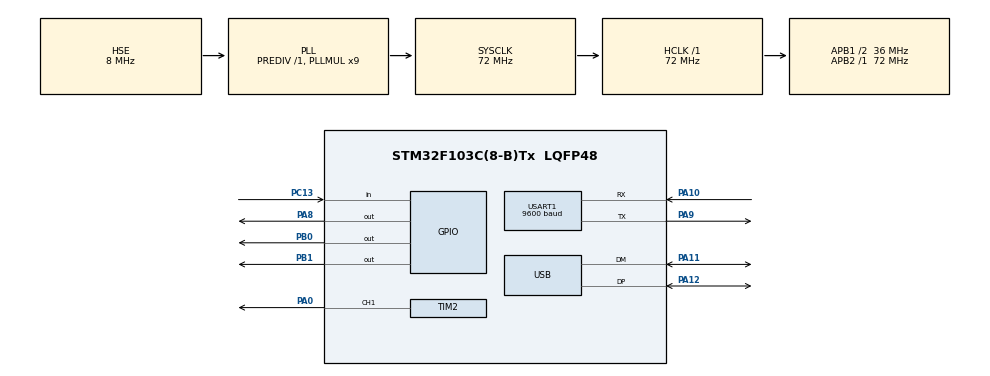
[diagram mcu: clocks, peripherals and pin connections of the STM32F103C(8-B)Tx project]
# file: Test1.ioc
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Mcu.Family=STM32F1
Mcu.Name=STM32F103C(8-B)Tx
Mcu.Package=LQFP48
NVIC.PriorityGroup=NVIC_PRIORITYGROUP_4
NVIC.TIM2_IRQn=true\:0\:0\:false\:false\:true\:true\:true\:true
NVIC.USART1_IRQn=true\:0\:0\:false\:false\:true\:true\:true\:true
NVIC.USB_LP_CAN1_RX0_IRQn=true\:0\:0\:false\:false\:true\:false\:true\:true
PA0-WKUP.Signal=S_TIM2_CH1_ETR
PA10.Mode=Asynchronous
PA10.Signal=USART1_RX
PA11.Mode=Device
PA11.Signal=USB_DM
PA12.Mode=Device
PA12.Signal=USB_DP
PA8.Signal=GPIO_Output
PA9.Mode=Asynchronous
PA9.Signal=USART1_TX
PB0.Signal=GPIO_Output
PB1.Signal=GPIO_Output
PC13-TAMPER-RTC.GPIO_PuPd=GPIO_PULLUP
PC13-TAMPER-RTC.Signal=GPIO_Input
PD0-OSC_IN.Mode=HSE-External-Oscillator
PD0-OSC_IN.Signal=RCC_OSC_IN
PD1-OSC_OUT.Mode=HSE-External-Oscillator
PD1-OSC_OUT.Signal=RCC_OSC_OUT
ProjectManager.HeapSize=0x200
ProjectManager.StackSize=0x400
ProjectManager.TargetToolchain=Makefile
RCC.AHBFreq_Value=72000000
RCC.APB1CLKDivider=RCC_HCLK_DIV2
RCC.APB1Freq_Value=36000000
RCC.APB1TimFreq_Value=72000000
RCC.APB2Freq_Value=72000000
RCC.APB2TimFreq_Value=72000000
RCC.HCLKFreq_Value=72000000
RCC.PLLMUL=RCC_PLL_MUL9
RCC.PLLSourceVirtual=RCC_PLLSOURCE_HSE
RCC.SYSCLKFreq_VALUE=72000000
RCC.SYSCLKSource=RCC_SYSCLKSOURCE_PLLCLK
RCC.USBFreq_Value=48000000
RCC.USBPrescaler=RCC_USBCLKSOURCE_PLL_DIV1_5
SH.S_TIM2_CH1_ETR.0=TIM2_CH1,Output Compare1 CH1
TIM2.Channel-Output\ Compare1\ CH1=TIM_CHANNEL_1
TIM2.Period=100
TIM2.Prescaler=7199
USART1.BaudRate=9600
USART1.VirtualMode=VM_ASYNC
USB_DEVICE.CLASS_NAME_FS=CDC
USB_DEVICE.VirtualMode=Cdc
USB_DEVICE.VirtualModeFS=Cdc_FS
VP_SYS_VS_ND.Mode=No_Debug
VP_TIM2_VS_ClockSourceINT.Mode=Internal
VP_USB_DEVICE_VS_USB_DEVICE_CDC_FS.Mode=CDC_FS
board=custom

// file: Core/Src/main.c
/* USER CODE BEGIN Header */
/**
  ******************************************************************************
  * @file           : main.c
  * @brief          : Main program body
  ******************************************************************************
  * @attention
  *
  * Copyright (c) 2024 STMicroelectronics.
  * All rights reserved.
  *
  * This software is licensed under terms that can be found in the LICENSE file
  * in the root directory of this software component.
  * If no LICENSE file comes with this software, it is provided AS-IS.
  *
  ******************************************************************************
  */
/* USER CODE END Header */
#include "main.h"
#include "usb_device.h"

/* USER CODE BEGIN Includes */
#include <stdio.h>      // add for printf
#include <string.h>
/* USER CODE END Includes */

TIM_HandleTypeDef htim2;

UART_HandleTypeDef huart1;

/* USER CODE BEGIN PV */
uint8_t uart_buf[1];
uint8_t ticks;  // timer2 ticks
uint8_t SM_State; // State for the State Machine
uint8_t User_B_Pressed = 0;  // flag for button
/* USER CODE END PV */

void SystemClock_Config(void);
static void MX_GPIO_Init(void);
static void MX_USART1_UART_Init(void);
static void MX_TIM2_Init(void);

/* USER CODE BEGIN 0 */

#ifdef __GNUC__
#define PUTCHAR_PROTOTYPE int __io_putchar(int ch)
#else
#define PUTCHAR_PROTOTYPE int fputc(int ch, FILE *f)
#endif

/**
  * @brief  Retargets the C library printf function to the USART.
  * @param  None
  * @retval None
  */
PUTCHAR_PROTOTYPE
{
  HAL_UART_Transmit(&huart1, (uint8_t *)&ch, 1, 0xFFFF);
  return ch;
}

/* also redefine _write for printf*/
int _write(int fd, char * ptr, int len)
{
  HAL_UART_Transmit(&huart1, (uint8_t *) ptr, len, HAL_MAX_DELAY);
  return len;
}

/* Callback function for UART RX Complete: process incoming character*/
void HAL_UART_RxCpltCallback(UART_HandleTypeDef *huart)
{
  if(uart_buf[0] != '?' ) {
    uart_buf[0]++;  // increment received char to transmit next one
    HAL_UART_Transmit(&huart1, uart_buf, 1, 10);
  }
  else
    printf("Sw Version %d.%d\r\n",SW_VERSION/10, SW_VERSION%10);

  HAL_UART_Receive_IT(&huart1, uart_buf, 1); // reactivate interrupt for next char
}

/* Timer2 Interrupt Service Routine: Blinks LEDs */
void HAL_TIM_PeriodElapsedCallback(TIM_HandleTypeDef *htim2)
{
  if(ticks++ == 100)    // 100 timer2 ticks = 1 second
    ticks=0;   // reset
  switch (ticks) {
    case 10:
      HAL_GPIO_WritePin(GPIOB, GPIO_PIN_0, 1); // Red LED
      HAL_GPIO_WritePin(GPIOB, GPIO_PIN_1, 0);
      HAL_GPIO_WritePin(GPIOA, GPIO_PIN_8, 0);
      break;
    case 25:
      HAL_GPIO_WritePin(GPIOB, GPIO_PIN_0, 0);
      HAL_GPIO_WritePin(GPIOB, GPIO_PIN_1, 1); // Green
      HAL_GPIO_WritePin(GPIOA, GPIO_PIN_8, 0);
      break;
    case 40:
      HAL_GPIO_WritePin(GPIOB, GPIO_PIN_0, 0);
      HAL_GPIO_WritePin(GPIOB, GPIO_PIN_1, 0);
      HAL_GPIO_WritePin(GPIOA, GPIO_PIN_8, 1); // Blue
      break;
    case 55:
      HAL_GPIO_WritePin(GPIOB, GPIO_PIN_0, 0); // all OFF
      HAL_GPIO_WritePin(GPIOB, GPIO_PIN_1, 0);
      HAL_GPIO_WritePin(GPIOA, GPIO_PIN_8, 0);
      break;
  }  // case
}

/* USER CODE END 0 */

int main(void)
{
  /* USER CODE BEGIN 1 */
  /****************************************************************************/
  /********************************      MAIN        **************************/
  /****************************************************************************/

  /* USER CODE END 1 */

  /* MCU Configuration--------------------------------------------------------*/

  /* Reset of all peripherals, Initializes the Flash interface and the Systick. */
  HAL_Init();

  /* Configure the system clock */
  SystemClock_Config();

  /* Initialize all configured peripherals */
  MX_GPIO_Init();
  MX_USART1_UART_Init();
  MX_USB_DEVICE_Init();
  MX_TIM2_Init();
  /* USER CODE BEGIN 2 */
  HAL_UART_Receive_IT(&huart1, uart_buf, 1); // enable UART Rx IT=interrupt
  HAL_TIM_Base_Start_IT(&htim2);  //enable Timer 2 interrupt
  /* USER CODE END 2 */

  /* Infinite loop */
  /* USER CODE BEGIN WHILE */

  /*********************************** main loop *************************************************/
  while (1)
  {
    /* USER CODE END WHILE */

    /* USER CODE BEGIN 3 */
    if( HAL_GPIO_ReadPin(GPIOC, GPIO_PIN_13) == GPIO_PIN_RESET ) {     // PORTC.13 ==0 means button pressed
        HAL_Delay(25);                                                 // wait 25 milliseconds
        if( HAL_GPIO_ReadPin(GPIOC, GPIO_PIN_13) == GPIO_PIN_RESET ) { // then read again for debouncing
          while( HAL_GPIO_ReadPin(GPIOC, GPIO_PIN_13) == GPIO_PIN_RESET); // wait for button release
          User_B_Pressed = 1;
          printf("USER\n\r");
        }
    }

    switch(SM_State) {     // main State Machine
      case SM_START:
        printf("Code version %d.%d starting...\n\r", SW_VERSION/10, SW_VERSION%10);
        SM_State=SM_FAST_BLINK;
        break;

      case SM_FAST_BLINK:
        if(User_B_Pressed) {
          htim2.Init.Period = 300;    // change timer counter period 3x slower
          if (HAL_TIM_Base_Init(&htim2) != HAL_OK) Error_Handler();  // reinitialize timer
          User_B_Pressed = 0; // reset flag because it was processed
          SM_State = SM_SLOW_BLINK;
        }
        break;

      case SM_SLOW_BLINK:
        if(User_B_Pressed) {
          htim2.Init.Period = 100;  // timer counter period original value
          if (HAL_TIM_Base_Init(&htim2) != HAL_OK) Error_Handler(); // reinitialize timer
          User_B_Pressed = 0;
          SM_State = SM_FAST_BLINK;
        }
        break;

      default:  // this shouldn't happen
        SM_State = SM_START;
    } // switch

  }
  /* USER CODE END 3 */
}

void SystemClock_Config(void)
{
  RCC_OscInitTypeDef RCC_OscInitStruct = {0};
  RCC_ClkInitTypeDef RCC_ClkInitStruct = {0};
  RCC_PeriphCLKInitTypeDef PeriphClkInit = {0};

  /** Initializes the RCC Oscillators according to the specified parameters
  * in the RCC_OscInitTypeDef structure.
  */
  RCC_OscInitStruct.OscillatorType = RCC_OSCILLATORTYPE_HSE;
  RCC_OscInitStruct.HSEState = RCC_HSE_ON;
  RCC_OscInitStruct.HSEPredivValue = RCC_HSE_PREDIV_DIV1;
  RCC_OscInitStruct.HSIState = RCC_HSI_ON;
  RCC_OscInitStruct.PLL.PLLState = RCC_PLL_ON;
  RCC_OscInitStruct.PLL.PLLSource = RCC_PLLSOURCE_HSE;
  RCC_OscInitStruct.PLL.PLLMUL = RCC_PLL_MUL9;
  if (HAL_RCC_OscConfig(&RCC_OscInitStruct) != HAL_OK)
  {
    Error_Handler();
  }

  /** Initializes the CPU, AHB and APB buses clocks
  */
  RCC_ClkInitStruct.ClockType = RCC_CLOCKTYPE_HCLK|RCC_CLOCKTYPE_SYSCLK
                              |RCC_CLOCKTYPE_PCLK1|RCC_CLOCKTYPE_PCLK2;
  RCC_ClkInitStruct.SYSCLKSource = RCC_SYSCLKSOURCE_PLLCLK;
  RCC_ClkInitStruct.AHBCLKDivider = RCC_SYSCLK_DIV1;
  RCC_ClkInitStruct.APB1CLKDivider = RCC_HCLK_DIV2;
  RCC_ClkInitStruct.APB2CLKDivider = RCC_HCLK_DIV1;

  if (HAL_RCC_ClockConfig(&RCC_ClkInitStruct, FLASH_LATENCY_2) != HAL_OK)
  {
    Error_Handler();
  }
  PeriphClkInit.PeriphClockSelection = RCC_PERIPHCLK_USB;
  PeriphClkInit.UsbClockSelection = RCC_USBCLKSOURCE_PLL_DIV1_5;
  if (HAL_RCCEx_PeriphCLKConfig(&PeriphClkInit) != HAL_OK)
  {
    Error_Handler();
  }
}

static void MX_TIM2_Init(void)
{

  TIM_ClockConfigTypeDef sClockSourceConfig = {0};
  TIM_MasterConfigTypeDef sMasterConfig = {0};
  TIM_OC_InitTypeDef sConfigOC = {0};

  /* USER CODE BEGIN TIM2_Init  1 */

  /* USER CODE END TIM2_Init 1 */
  htim2.Instance = TIM2;
  htim2.Init.Prescaler = 7199;
  htim2.Init.CounterMode = TIM_COUNTERMODE_UP;
  htim2.Init.Period = 100;
  htim2.Init.ClockDivision = TIM_CLOCKDIVISION_DIV1;
  htim2.Init.AutoReloadPreload = TIM_AUTORELOAD_PRELOAD_DISABLE;
  if (HAL_TIM_Base_Init(&htim2) != HAL_OK)
  {
    Error_Handler();
  }
  sClockSourceConfig.ClockSource = TIM_CLOCKSOURCE_INTERNAL;
  if (HAL_TIM_ConfigClockSource(&htim2, &sClockSourceConfig) != HAL_OK)
  {
    Error_Handler();
  }
  if (HAL_TIM_OC_Init(&htim2) != HAL_OK)
  {
    Error_Handler();
  }
  sMasterConfig.MasterOutputTrigger = TIM_TRGO_RESET;
  sMasterConfig.MasterSlaveMode = TIM_MASTERSLAVEMODE_DISABLE;
  if (HAL_TIMEx_MasterConfigSynchronization(&htim2, &sMasterConfig) != HAL_OK)
  {
    Error_Handler();
  }
  sConfigOC.OCMode = TIM_OCMODE_TIMING;
  sConfigOC.Pulse = 0;
  sConfigOC.OCPolarity = TIM_OCPOLARITY_HIGH;
  sConfigOC.OCFastMode = TIM_OCFAST_DISABLE;
  if (HAL_TIM_OC_ConfigChannel(&htim2, &sConfigOC, TIM_CHANNEL_1) != HAL_OK)
  {
    Error_Handler();
  }
  HAL_TIM_MspPostInit(&htim2);

}

static void MX_USART1_UART_Init(void)
{

  huart1.Instance = USART1;
  huart1.Init.BaudRate = 9600;
  huart1.Init.WordLength = UART_WORDLENGTH_8B;
  huart1.Init.StopBits = UART_STOPBITS_1;
  huart1.Init.Parity = UART_PARITY_NONE;
  huart1.Init.Mode = UART_MODE_TX_RX;
  huart1.Init.HwFlowCtl = UART_HWCONTROL_NONE;
  huart1.Init.OverSampling = UART_OVERSAMPLING_16;
  if (HAL_UART_Init(&huart1) != HAL_OK)
  {
    Error_Handler();
  }

}

static void MX_GPIO_Init(void)
{
  GPIO_InitTypeDef GPIO_InitStruct = {0};

  /* GPIO Ports Clock Enable */
  __HAL_RCC_GPIOC_CLK_ENABLE();
  __HAL_RCC_GPIOD_CLK_ENABLE();
  __HAL_RCC_GPIOA_CLK_ENABLE();
  __HAL_RCC_GPIOB_CLK_ENABLE();

  /*Configure GPIO pin Output Level */
  HAL_GPIO_WritePin(GPIOB, GPIO_PIN_0|GPIO_PIN_1, GPIO_PIN_RESET);

  /*Configure GPIO pin Output Level */
  HAL_GPIO_WritePin(GPIOA, GPIO_PIN_8, GPIO_PIN_RESET);

  /*Configure GPIO pin : PC13 */
  GPIO_InitStruct.Pin = GPIO_PIN_13;
  GPIO_InitStruct.Mode = GPIO_MODE_INPUT;
  GPIO_InitStruct.Pull = GPIO_PULLUP;
  HAL_GPIO_Init(GPIOC, &GPIO_InitStruct);

  /*Configure GPIO pins : PB0 PB1 */
  GPIO_InitStruct.Pin = GPIO_PIN_0|GPIO_PIN_1;
  GPIO_InitStruct.Mode = GPIO_MODE_OUTPUT_PP;
  GPIO_InitStruct.Pull = GPIO_NOPULL;
  GPIO_InitStruct.Speed = GPIO_SPEED_FREQ_LOW;
  HAL_GPIO_Init(GPIOB, &GPIO_InitStruct);

  /*Configure GPIO pin : PA8 */
  GPIO_InitStruct.Pin = GPIO_PIN_8;
  GPIO_InitStruct.Mode = GPIO_MODE_OUTPUT_PP;
  GPIO_InitStruct.Pull = GPIO_NOPULL;
  GPIO_InitStruct.Speed = GPIO_SPEED_FREQ_LOW;
  HAL_GPIO_Init(GPIOA, &GPIO_InitStruct);

}

void Error_Handler(void)
{
  __disable_irq();
  while (1)
  {
  }
}
